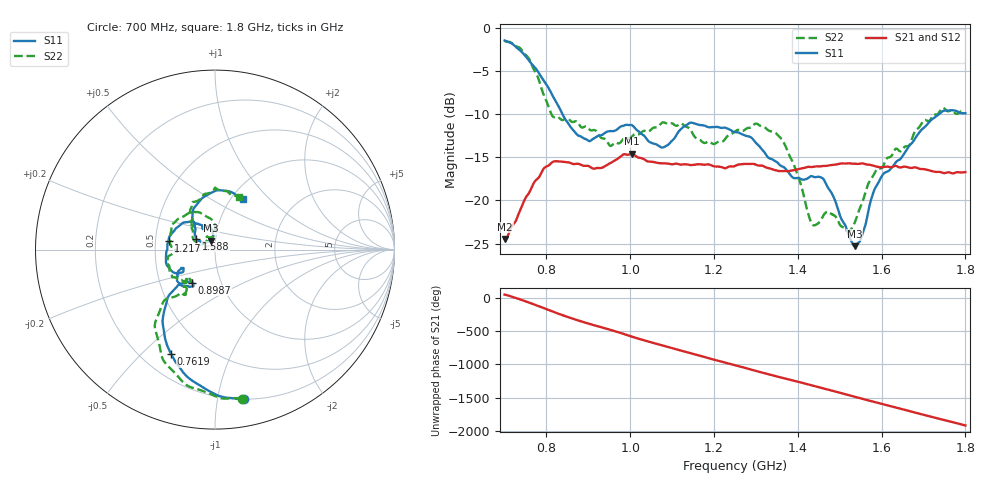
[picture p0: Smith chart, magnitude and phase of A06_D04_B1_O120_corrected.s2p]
! Created with skrf 1.9.0 (http://scikit-rf.org).
# Hz S RI R 50.0
!freq ReS11 ImS11 ReS21 ImS21 ReS12 ImS12 ReS22 ImS22
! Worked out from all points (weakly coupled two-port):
!   1601 points, 700 MHz to 1.8 GHz, reference 50 ohm
!   highest |S21| = -14.59 dB at 1.004 GHz (marker M1); lowest = -24.5 dB at 701.4 MHz (marker M2)
!   lowest |S11| = -25.3 dB at 1.535 GHz (marker M3), VSWR 1.11, Z = 47.7 + j4.76 ohm
!   |S11| at or under -10 dB: 838.3 MHz to 1.736 GHz (897.9 MHz wide, 69.8 % of centre)
!   |S22| runs from -23.6 to -1.5 dB; largest |S21 - S12| = 0.0035
!   S11 on the Smith chart (normalised r, x): 700 MHz: 0.20, -1.19; 761.9 MHz: 0.32, -0.62; 898.7 MHz: 0.73, -0.28; 1.217 GHz: 0.59, +0.06; 1.588 GHz: 0.80, +0.10; 1.8 GHz: 1.13, +0.71
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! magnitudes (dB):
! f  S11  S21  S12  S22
! 700 MHz  -1.4  -24.5  -24.2  -1.5
! 701.4 MHz  -1.5  -24.5  -24.1  -1.5
! 761.9 MHz  -4.0  -18.8  -18.7  -3.9
! 814.1 MHz  -7.8  -15.5  -15.6  -10.2
! 883.6 MHz  -12.6  -15.9  -15.8  -11.5
! 898.7 MHz  -13.0  -16.0  -16.0  -11.6
! 953 MHz  -11.9  -15.6  -15.6  -13.7
! 1.004 GHz  -11.3  -14.6  -14.7  -12.6
! 1.067 GHz  -13.6  -15.7  -15.6  -11.4
! 1.143 GHz  -11.0  -15.9  -15.9  -11.7
! 1.217 GHz  -11.6  -16.1  -16.1  -13.2
! 1.25 GHz  -12.1  -16.0  -15.9  -12.0
! 1.302 GHz  -13.4  -15.9  -15.8  -11.1
! 1.359 GHz  -16.0  -16.6  -16.6  -12.7
! 1.434 GHz  -17.2  -16.1  -16.1  -22.7
! 1.463 GHz  -17.7  -16.0  -16.0  -21.6
! 1.535 GHz  -25.3  -15.7  -15.7  -22.6
! 1.552 GHz  -24.1  -15.7  -15.7  -20.4
! 1.588 GHz  -18.3  -16.1  -16.1  -16.5
! 1.617 GHz  -16.6  -16.1  -16.1  -15.0
! 1.741 GHz  -9.8  -16.7  -16.7  -9.5
! 1.8 GHz  -9.9  -16.7  -16.7  -9.9
